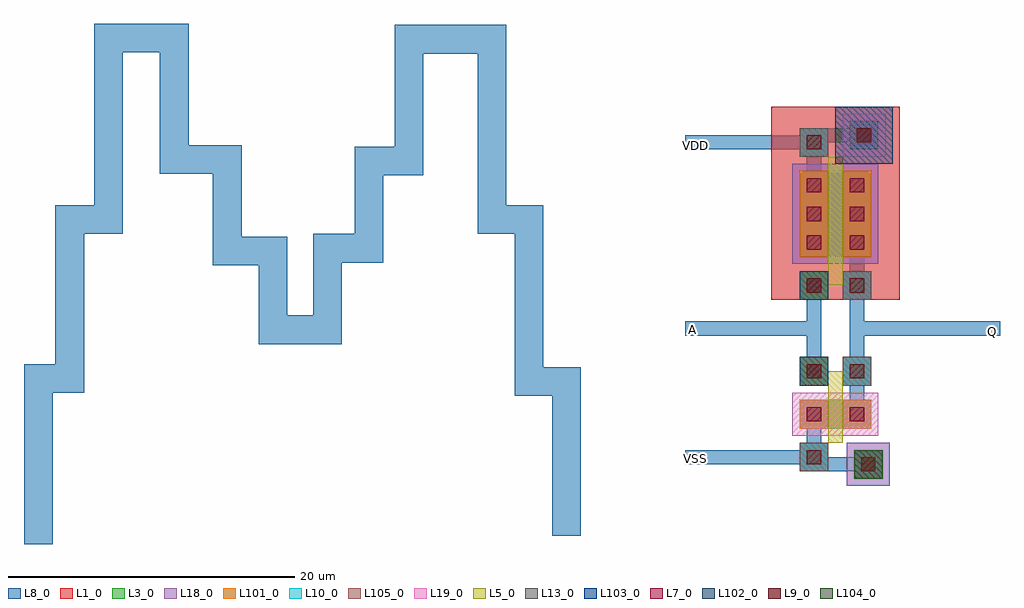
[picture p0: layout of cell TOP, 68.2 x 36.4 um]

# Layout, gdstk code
import gdstk
lib = gdstk.Library(unit=1e-6, precision=1e-07)
def R(c, l, rs):  # rectangles x0, y0, x1, y1
    for r in rs: c.add(gdstk.rectangle(r[:2], r[2:], *l))
L1_0 = (1, 0)
L3_0 = (3, 0)
L5_0 = (5, 0)
L7_0 = (7, 0)
L8_0 = (8, 0)
L9_0 = (9, 0)
L10_0 = (10, 0)
L13_0 = (13, 0)
L18_0 = (18, 0)
L19_0 = (19, 0)
L101_0 = (101, 0)
L102_0 = (102, 0)
L103_0 = (103, 0)
L104_0 = (104, 0)
L105_0 = (105, 0)

dcont = lib.new_cell('dcont')
R(dcont, L3_0, [(-1,-1,1,1)])
R(dcont, L7_0, [(-0.5,-0.5,0.5,0.5)])
R(dcont, L8_0, [(-1,-1,1,1)])
R(dcont, L13_0, [(-0.5,-0.5,0.5,0.5)])
R(dcont, L101_0, [(-1,-1,1,1)])

pcont = lib.new_cell('pcont')
R(pcont, L5_0, [(-1,-1,1,1)])
R(pcont, L7_0, [(-0.5,-0.5,0.5,0.5)])
R(pcont, L8_0, [(-1,-1,1,1)])
R(pcont, L13_0, [(-0.5,-0.5,0.5,0.5)])
R(pcont, L102_0, [(-1,-1,1,1)])

via = lib.new_cell('Via')
R(via, L8_0, [(-1,-1,1,1)])
R(via, L9_0, [(-0.5,-0.5,0.5,0.5)])
R(via, L10_0, [(-1,-1,1,1)])
R(via, L13_0, [(-0.5,-0.5,0.5,0.5)])
R(via, L105_0, [(-1,-1,1,1)])

dcont1 = lib.new_cell('dcont1')
R(dcont1, L3_0, [(-1,-1,1,1)])
R(dcont1, L7_0, [(-0.5,-0.5,0.5,0.5)])
R(dcont1, L8_0, [(-1,-1,1,1)])
R(dcont1, L13_0, [(-0.5,-0.5,0.5,0.5)])
R(dcont1, L101_0, [(-1,-1,1,1)])

psubcont = lib.new_cell('psubcont')
R(psubcont, L18_0, [(-1.5,-1.5,1.5,1.5)])
R(psubcont, L104_0, [(-1,-1,1,1)])
psubcont.add(gdstk.Reference(dcont1, (0,0)))

nch_1 = lib.new_cell('Nch$1')
R(nch_1, L3_0, [(0,3,5,5)])
R(nch_1, L19_0, [(-0.5,2.5,5.5,5.5)])
nch_1.add(gdstk.FlexPath([(1,3),(1,5)], 2, ends="flush", simple_path=True, layer=8, datatype=0))  # L8_0
nch_1.add(gdstk.FlexPath([(4,3),(4,5)], 2, ends="flush", simple_path=True, layer=8, datatype=0))  # L8_0
nch_1.add(gdstk.FlexPath([(1,1),(1,4)], 1, ends="flush", simple_path=True, layer=8, datatype=0))  # L8_0
nch_1.add(gdstk.FlexPath([(4,4),(4,7)], 1, ends="flush", simple_path=True, layer=8, datatype=0))  # L8_0
nch_1.add(gdstk.FlexPath([(2.5,3),(2.5,5)], 1, ends=(1, 1), simple_path=True, layer=5, datatype=0))  # L5_0
nch_1.add(gdstk.FlexPath([(1,6.5),(2.5,6.5),(2.5,6)], 1, ends="flush", simple_path=True, layer=5, datatype=0))  # L5_0
nch_1.add(gdstk.Reference(dcont, (1,4)))
nch_1.add(gdstk.Reference(dcont, (4,4)))
nch_1.add(gdstk.Reference(pcont, (1,7)))
nch_1.add(gdstk.Reference(via, (1,7)))
nch_1.add(gdstk.Reference(via, (1,1)))
nch_1.add(gdstk.Reference(via, (4,7)))
nch_1.add(gdstk.Reference(psubcont, (4.8,0.5)))
nch_1.add(gdstk.Reference(via, (4.8,0.5)))

nsubcont = lib.new_cell('nsubcont')
R(nsubcont, L1_0, [(-2,-2,2,2)])
R(nsubcont, L19_0, [(-1.5,-1.5,1.5,1.5)])
R(nsubcont, L103_0, [(-2,-2,2,2)])
nsubcont.add(gdstk.Reference(dcont1, (0,0)))

pch_1 = lib.new_cell('Pch$1')
R(pch_1, L1_0, [(-2,0,7,13.5)])
R(pch_1, L3_0, [(0,3,5,9)])
R(pch_1, L18_0, [(-0.5,2.5,5.5,9.5)])
pch_1.add(gdstk.FlexPath([(1,3),(1,9)], 2, ends="flush", simple_path=True, layer=8, datatype=0))  # L8_0
pch_1.add(gdstk.FlexPath([(4,3),(4,9)], 2, ends="flush", simple_path=True, layer=8, datatype=0))  # L8_0
pch_1.add(gdstk.FlexPath([(1,8),(1,11)], 1, ends="flush", simple_path=True, layer=8, datatype=0))  # L8_0
pch_1.add(gdstk.FlexPath([(4,1),(4,4)], 1, ends="flush", simple_path=True, layer=8, datatype=0))  # L8_0
pch_1.add(gdstk.FlexPath([(2.5,3),(2.5,9)], 1, ends=(1, 1), simple_path=True, layer=5, datatype=0))  # L5_0
pch_1.add(gdstk.FlexPath([(1,1.5),(2.5,1.5),(2.5,2)], 1, ends="flush", simple_path=True, layer=5, datatype=0))  # L5_0
pch_1.add(gdstk.Reference(dcont, (1,4)))
pch_1.add(gdstk.Reference(dcont, (1,6)))
pch_1.add(gdstk.Reference(dcont, (1,8)))
pch_1.add(gdstk.Reference(dcont, (4,4)))
pch_1.add(gdstk.Reference(dcont, (4,6)))
pch_1.add(gdstk.Reference(dcont, (4,8)))
pch_1.add(gdstk.Reference(pcont, (1,1)))
pch_1.add(gdstk.Reference(via, (1,1)))
pch_1.add(gdstk.Reference(via, (1,11)))
pch_1.add(gdstk.Reference(via, (4,1)))
pch_1.add(gdstk.Reference(nsubcont, (4.5,11.5)))
pch_1.add(gdstk.Reference(via, (4.5,11.5)))

top = lib.new_cell('TOP')
top.add(gdstk.FlexPath([(-53.2,-5.1),(-53.2,6.5),(-51,6.5),(-51,17.6),(-48.3,17.6),(-48.3,30.3),(-43.7,30.3),(-43.7,21.8),(-40,21.8),(-40,15.4),(-36.8,15.4),(-36.8,9.9),(-33,9.9),(-33,15.6),(-30.1,15.6),(-30.1,21.7),(-27.3,21.7),(-27.3,30.2),(-21.5,30.2),(-21.5,17.6),(-18.9,17.6),(-18.9,6.3),(-16.3,6.3),(-16.3,-4.5)], 2, ends="flush", simple_path=True, layer=8, datatype=0))  # L8_0
top.add(gdstk.FlexPath([(1.5,23),(-8,23)], 1, ends="flush", simple_path=True, layer=8, datatype=0))  # L8_0
top.add(gdstk.FlexPath([(5,23.5),(0.5,23.5)], 1, ends="flush", simple_path=True, layer=8, datatype=0))  # L8_0
top.add(gdstk.FlexPath([(5.3,0.5),(0.5,0.5)], 1, ends="flush", simple_path=True, layer=8, datatype=0))  # L8_0
top.add(gdstk.FlexPath([(1.5,1),(-8,1)], 1, ends="flush", simple_path=True, layer=8, datatype=0))  # L8_0
top.add(gdstk.FlexPath([(1,6.5),(1,13.5)], 1, ends="flush", simple_path=True, layer=8, datatype=0))  # L8_0
top.add(gdstk.FlexPath([(4,13.5),(4,6.5)], 1, ends="flush", simple_path=True, layer=8, datatype=0))  # L8_0
top.add(gdstk.FlexPath([(0.5,10),(-8,10)], 1, ends="flush", simple_path=True, layer=8, datatype=0))  # L8_0
top.add(gdstk.FlexPath([(4.5,10),(14,10)], 1, ends="flush", simple_path=True, layer=8, datatype=0))  # L8_0
top.add(gdstk.Reference(nch_1, (0,0)))
top.add(gdstk.Reference(pch_1, (0,12)))
top.add(gdstk.Label('A', (-7.5,9.9), layer=8, texttype=0))
top.add(gdstk.Label('Q', (13.5,9.8), layer=8, texttype=0))
top.add(gdstk.Label('VSS', (-7.3,0.9), layer=8, texttype=0))
top.add(gdstk.Label('VDD', (-7.3,22.8), layer=8, texttype=0))

lib.write_gds('TOP.gds')
